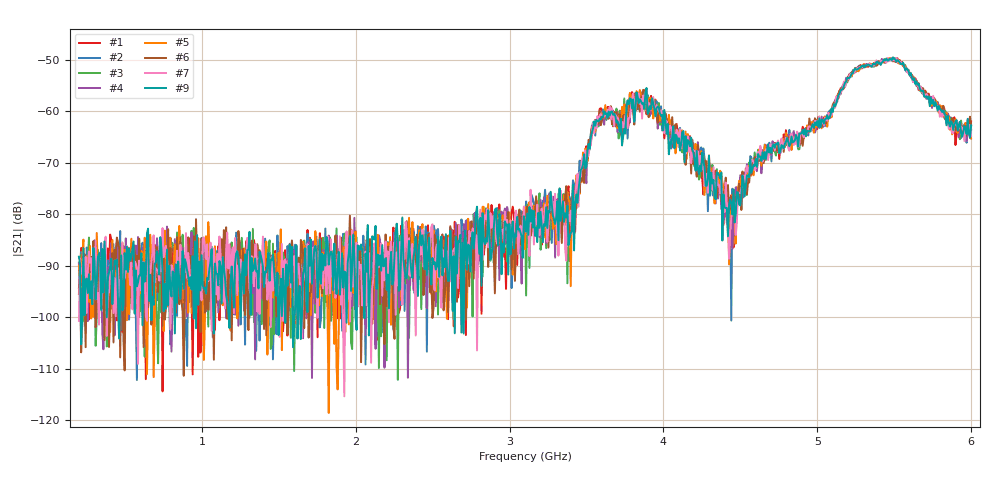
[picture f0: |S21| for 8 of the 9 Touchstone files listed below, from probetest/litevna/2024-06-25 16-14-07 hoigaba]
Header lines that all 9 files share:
! NanoVNA-App
! Start: 200MHz Stop: 6GHz Points: 801
! S-Parameter data: F S11 S21 S12 S22
# Hz S RI R 50
!  Frequency  S11_Real  S11_Imag  S21_Real  S21_Imag  S12_Real  S12_Imag  S22_Real  S22_Imag
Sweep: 200 MHz to 6 GHz
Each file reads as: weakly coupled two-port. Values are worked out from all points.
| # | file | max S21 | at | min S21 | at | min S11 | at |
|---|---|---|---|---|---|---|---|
| 1 | 0.s2p | -49.69 dB | 5.521 GHz | -114.4 dB | 743.8 MHz | -5.6 dB | 2.948 GHz |
| 2 | 2.s2p | -49.64 dB | 5.5 GHz | -112.2 dB | 577 MHz | -5.6 dB | 2.948 GHz |
| 3 | 3.s2p | -49.70 dB | 5.478 GHz | -112.2 dB | 2.273 GHz | -5.6 dB | 2.948 GHz |
| 4 | 4.s2p | -49.63 dB | 5.485 GHz | -111.8 dB | 1.715 GHz | -5.6 dB | 2.948 GHz |
| 5 | 5.s2p | -49.68 dB | 5.471 GHz | -118.6 dB | 1.824 GHz | -5.6 dB | 2.948 GHz |
| 6 | 6.s2p | -49.70 dB | 5.514 GHz | -111.4 dB | 881.5 MHz | -5.6 dB | 2.948 GHz |
| 7 | 7.s2p | -49.66 dB | 5.456 GHz | -115.4 dB | 1.925 GHz | -5.6 dB | 2.948 GHz |
| 8 | 8.s2p | -49.48 dB | 5.478 GHz | -111.0 dB | 258 MHz | -5.6 dB | 2.948 GHz |
| 9 | 9.s2p | -49.49 dB | 5.492 GHz | -105.9 dB | 1.592 GHz | -5.6 dB | 2.948 GHz |
